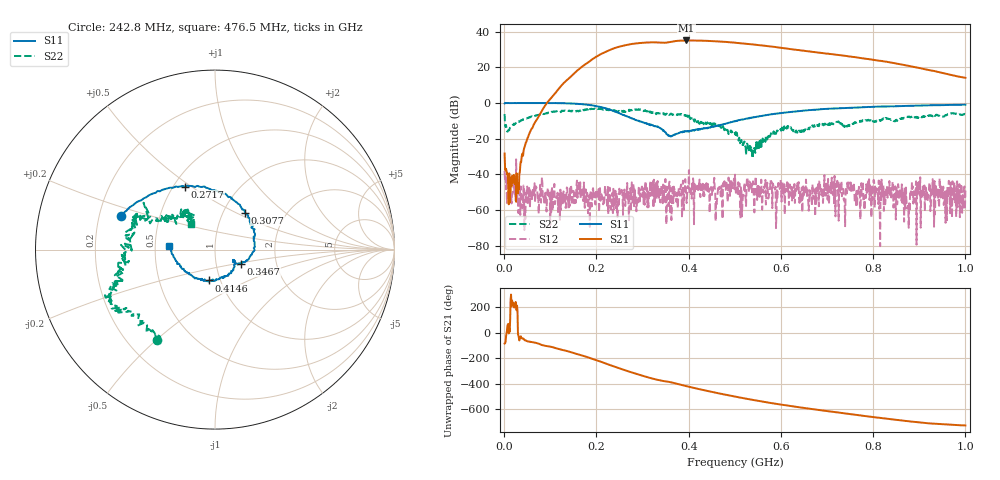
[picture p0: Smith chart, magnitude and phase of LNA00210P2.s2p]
! Created with skrf 1.9.0 (http://scikit-rf.org).
# Hz S RI R 50.0
!freq ReS11 ImS11 ReS21 ImS21 ReS12 ImS12 ReS22 ImS22
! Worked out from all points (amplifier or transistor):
!   1001 points, 1 MHz to 1 GHz, reference 50 ohm
!   highest |S21| = 35.0 dB at 394.6 MHz (marker M1)
!   |S21| within 3 dB of that: 257.1 MHz to 565.7 MHz (308.7 MHz wide, 75 % of centre)
!   unconditionally stable (mu >= 1): start of sweep to 112.9 MHz; 324.7 MHz to 400.3 MHz; 400.8 MHz to end of sweep (the widest 3 of 19)
!   at 166.8 MHz: K = 2.15, MAG = 30.0 dB, |S12| = -52.3 dB
!   at 500.5 MHz: K = 1.20, MAG = 34.3 dB, |S12| = -40.2 dB
!   at 1 GHz: K = 4.29, MAG = 22.3 dB, |S12| = -49.1 dB
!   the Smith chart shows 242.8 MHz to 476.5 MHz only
!   S11 on the Smith chart (normalised r, x): 242.8 MHz: 0.29, +0.16; 271.7 MHz: 0.57, +0.47; 307.7 MHz: 1.26, +0.56; 346.7 MHz: 1.32, -0.21; 414.6 MHz: 0.89, -0.31; 476.5 MHz: 0.59, +0.02
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1000000  0.9652 0.00282  0.00285 -0.0381  -0.0122 -0.00237  0.3453 0.3444
1.08892e8  0.5027 -0.8529  -0.8407 -1.559  -0.00526 0.00118  0.4278 -0.3815
1.67833e8  -0.2689 -0.885  -10.14 -0.3922  0.00241 0.00356  0.0283 -0.6337
2.09791e8  -0.6839 -0.3432  -15.37 17.51  -0.00272 0.000186  -0.1868 -0.66
2.42758e8  -0.5247 0.1849  0.9061 35.21  0.000927 0.000613  -0.3207 -0.5026
2.71729e8  -0.1683 0.3508  26.17 34.78  -4.11e-05 -0.00283  -0.4933 -0.3256
3.07693e8  0.1678 0.2062  47.83 11.45  -0.00228 0.000216  -0.5496 -0.202
3.34666e8  0.2075 -0.0172  47.94 -11.03  -0.00283 -0.000242  -0.5199 -0.0289
3.46654e8  0.144 -0.0783  45.03 -17.63  -0.000252 0.0029  -0.4817 0.00968
3.7063e8  0.1078 -0.0704  42.63 -33.12  -0.00148 0.002  -0.4479 0.1495
3.94606e8  0.0596 -0.1485  28.04 -48.71  0.00232 0.00198  -0.4052 0.1715
4.14586e8  -0.0319 -0.1719  12.46 -54.43  0.00395 0.00254  -0.2639 0.1416
4.43557e8  -0.1609 -0.125  -9.776 -53.44  0.00139 0.00268  -0.1562 0.2083
4.76524e8  -0.2547 0.019  -29.84 -41.93  0.00261 0.00341  -0.1352 0.1434
5.005e8  -0.2623 0.1556  -38.9 -29.61  0.00463 -0.0086  -0.1204 0.0833
5.36464e8  -0.1944 0.3333  -42.54 -9.709  0.0052 0.000268  -0.0457 0.0262
5.84416e8  0.00985 0.4919  -35.77 10.64  0.00461 -0.00203  -0.1396 -0.0772
6.67333e8  0.403 0.4932  -13.19 23.48  7.68e-05 -0.00129  -0.2128 -0.0307
7.53247e8  0.679 0.2818  4.06 19.22  -0.00193 -0.00515  -0.2438 -0.0078
8.34166e8  0.7953 0.0172  10.38 9.141  -0.000533 -0.00356  -0.3539 -0.0173
9.14086e8  0.8164 -0.2538  8.544 1.392  -0.00423 -0.000498  -0.3756 0.1315
1e9  0.73 -0.5167  4.975 -0.8414  0.0026 0.00233  -0.376 0.2907
